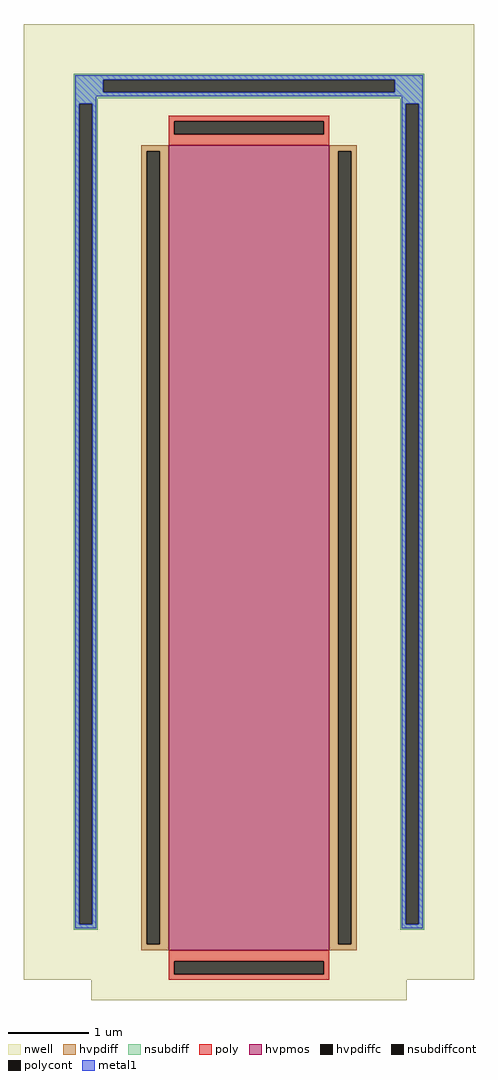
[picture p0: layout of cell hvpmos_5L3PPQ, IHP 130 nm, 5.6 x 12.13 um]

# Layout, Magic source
magic
tech ihp-sg13g2
<< nwell >>
rect -280 -537 280 651
rect -196 -562 196 -537
<< hvpmos >>
rect -100 -500 100 500
<< hvpdiff >>
rect -134 493 -100 500
rect -134 -493 -127 493
rect -111 -493 -100 493
rect -134 -500 -100 -493
rect 100 493 134 500
rect 100 -493 111 493
rect 127 -493 134 493
rect 100 -500 134 -493
<< hvpdiffc >>
rect -127 -493 -111 493
rect 111 -493 127 493
<< nsubdiff >>
rect -218 582 218 589
rect -218 566 -181 582
rect 181 566 218 582
rect -218 559 218 566
rect -218 552 -188 559
rect -218 -468 -211 552
rect -195 -468 -188 552
rect 188 552 218 559
rect -218 -475 -188 -468
rect 188 -468 195 552
rect 211 -468 218 552
rect 188 -475 218 -468
<< nsubdiffcont >>
rect -181 566 181 582
rect -211 -468 -195 552
rect 195 -468 211 552
<< poly >>
rect -100 530 100 537
rect -100 514 -93 530
rect 93 514 100 530
rect -100 500 100 514
rect -100 -514 100 -500
rect -100 -530 -93 -514
rect 93 -530 100 -514
rect -100 -537 100 -530
<< polycont >>
rect -93 514 93 530
rect -93 -530 93 -514
<< metal1 >>
rect -216 582 216 587
rect -216 566 -181 582
rect 181 566 216 582
rect -216 561 216 566
rect -216 552 -190 561
rect -216 -468 -211 552
rect -195 -468 -190 552
rect 190 552 216 561
rect -216 -473 -190 -468
rect 190 -468 195 552
rect 211 -468 216 552
rect 190 -473 216 -468
<< properties >>
string gencell hvpmos
string library sg13g2_devstdin
string parameters w 10 l 2 nf 1 nx 1 dx 0.21 ny 1 dy 0.18 wmin 0.50 lmin 0.50 class mosfet gcontcov_t 100 gcontcov_b 100 dcontcov_l 100 dcontcov_r 100 guard_distf 1 glc 1 grc 1 gtc 1 gbc 0
<< end >>
